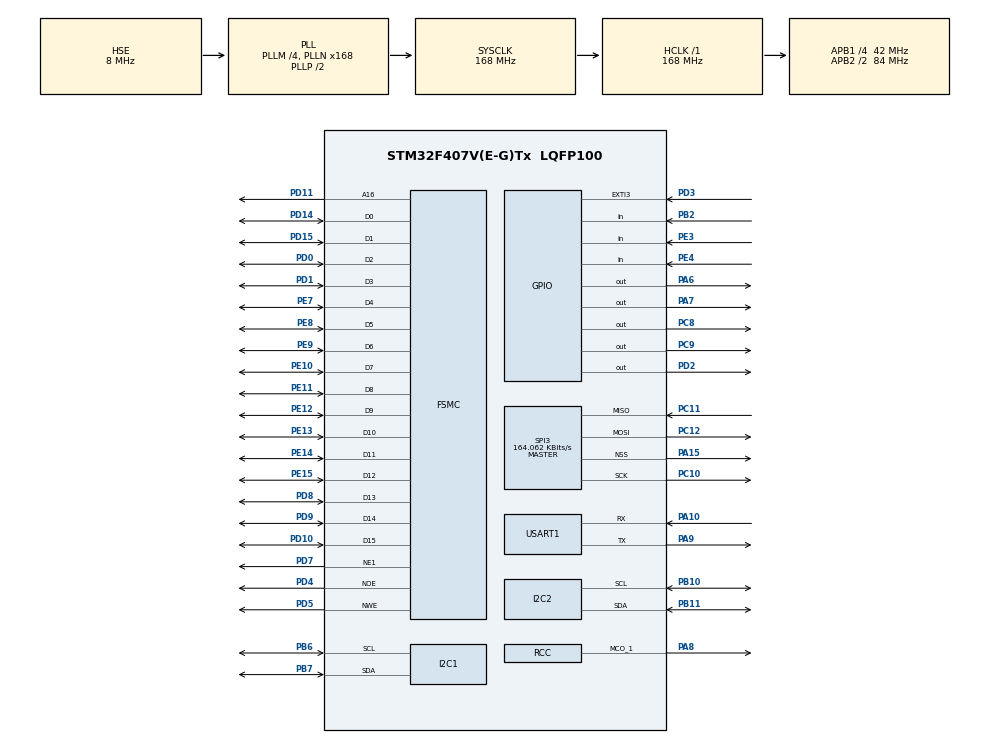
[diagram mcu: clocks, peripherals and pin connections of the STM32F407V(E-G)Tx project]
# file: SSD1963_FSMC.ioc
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FSMC.AddressHoldTime1=2
FSMC.AddressSetupTime1=2
FSMC.BusTurnAroundDuration1=2
FSMC.DataSetupTime1=5
FSMC.ExtendedMode1=FSMC_EXTENDED_MODE_DISABLE
Mcu.Family=STM32F4
Mcu.Name=STM32F407V(E-G)Tx
Mcu.Package=LQFP100
NVIC.EXTI3_IRQn=true\:0\:0\:false\:false\:true\:true
NVIC.PriorityGroup=NVIC_PRIORITYGROUP_4
NVIC.SPI3_IRQn=true\:0\:0\:false\:false\:true\:true
NVIC.TIM1_BRK_TIM9_IRQn=true\:0\:0\:false\:false\:true\:true
NVIC.TIM1_UP_TIM10_IRQn=true\:0\:0\:false\:false\:true\:true
PA0-WKUP.Mode=SYS_WakeUp0
PA0-WKUP.Signal=SYS_WKUP
PA10.Mode=Asynchronous
PA10.Signal=USART1_RX
PA13.Mode=Serial_Wire
PA13.Signal=SYS_JTMS-SWDIO
PA14.Mode=Serial_Wire
PA14.Signal=SYS_JTCK-SWCLK
PA15.Mode=NSS_Signal_Hard_Output
PA15.Signal=SPI3_NSS
PA6.GPIO_ModeDefaultOutputPP=GPIO_MODE_OUTPUT_PP
PA6.GPIO_PuPd=GPIO_NOPULL
PA6.GPIO_Speed=GPIO_SPEED_FREQ_LOW
PA6.PinState=GPIO_PIN_SET
PA6.Signal=GPIO_Output
PA7.GPIO_ModeDefaultOutputPP=GPIO_MODE_OUTPUT_PP
PA7.GPIO_PuPd=GPIO_NOPULL
PA7.GPIO_Speed=GPIO_SPEED_FREQ_LOW
PA7.PinState=GPIO_PIN_RESET
PA7.Signal=GPIO_Output
PA8.Mode=Clock-out-1
PA8.Signal=RCC_MCO_1
PA9.Mode=Asynchronous
PA9.Signal=USART1_TX
PB10.Mode=I2C
PB10.Signal=I2C2_SCL
PB11.Mode=I2C
PB11.Signal=I2C2_SDA
PB2.GPIO_Mode=GPIO_MODE_INPUT
PB2.GPIO_PuPd=GPIO_NOPULL
PB2.Signal=GPIO_Input
PB6.Mode=I2C
PB6.Signal=I2C1_SCL
PB7.Mode=I2C
PB7.Signal=I2C1_SDA
PC10.GPIO_Mode=GPIO_MODE_AF_PP
PC10.GPIO_PuPd=GPIO_NOPULL
PC10.GPIO_Speed=GPIO_SPEED_FREQ_VERY_HIGH
PC10.Mode=Full_Duplex_Master
PC10.Signal=SPI3_SCK
PC11.GPIO_Mode=GPIO_MODE_AF_PP
PC11.GPIO_PuPd=GPIO_NOPULL
PC11.GPIO_Speed=GPIO_SPEED_FREQ_VERY_HIGH
PC11.Mode=Full_Duplex_Master
PC11.Signal=SPI3_MISO
PC12.GPIO_Mode=GPIO_MODE_AF_PP
PC12.GPIO_PuPd=GPIO_NOPULL
PC12.GPIO_Speed=GPIO_SPEED_FREQ_VERY_HIGH
PC12.Mode=Full_Duplex_Master
PC12.Signal=SPI3_MOSI
PC8.GPIO_ModeDefaultOutputPP=GPIO_MODE_OUTPUT_PP
PC8.GPIO_PuPd=GPIO_NOPULL
PC8.GPIO_Speed=GPIO_SPEED_FREQ_LOW
PC8.PinState=GPIO_PIN_RESET
PC8.Signal=GPIO_Output
PC9.GPIO_ModeDefaultOutputPP=GPIO_MODE_OUTPUT_PP
PC9.GPIO_PuPd=GPIO_NOPULL
PC9.GPIO_Speed=GPIO_SPEED_FREQ_LOW
PC9.PinState=GPIO_PIN_RESET
PC9.Signal=GPIO_Output
PD0.Mode=16b-d1
PD0.Signal=FSMC_D2
PD1.Mode=16b-d1
PD1.Signal=FSMC_D3
PD10.Mode=16b-d1
PD10.Signal=FSMC_D15
PD11.Mode=A16_1
PD11.Signal=FSMC_A16
PD14.Mode=16b-d1
PD14.Signal=FSMC_D0
PD15.Mode=16b-d1
PD15.Signal=FSMC_D1
PD2.GPIO_ModeDefaultOutputPP=GPIO_MODE_OUTPUT_PP
PD2.GPIO_PuPd=GPIO_NOPULL
PD2.GPIO_Speed=GPIO_SPEED_FREQ_LOW
PD2.PinState=GPIO_PIN_RESET
PD2.Signal=GPIO_Output
PD3.GPIO_ModeDefaultEXTI=GPIO_MODE_IT_RISING
PD3.GPIO_PuPd=GPIO_NOPULL
PD3.Signal=GPXTI3
PD4.Mode=Lcd1
PD4.Signal=FSMC_NOE
PD5.Mode=Lcd1
PD5.Signal=FSMC_NWE
PD7.Mode=NorPsramChipSelect1_1
PD7.Signal=FSMC_NE1
PD8.Mode=16b-d1
PD8.Signal=FSMC_D13
PD9.Mode=16b-d1
PD9.Signal=FSMC_D14
PE10.Mode=16b-d1
PE10.Signal=FSMC_D7
PE11.Mode=16b-d1
PE11.Signal=FSMC_D8
PE12.Mode=16b-d1
PE12.Signal=FSMC_D9
PE13.Mode=16b-d1
PE13.Signal=FSMC_D10
PE14.Mode=16b-d1
PE14.Signal=FSMC_D11
PE15.Mode=16b-d1
PE15.Signal=FSMC_D12
PE3.GPIO_Mode=GPIO_MODE_INPUT
PE3.GPIO_PuPd=GPIO_NOPULL
PE3.Signal=GPIO_Input
PE4.GPIO_Mode=GPIO_MODE_INPUT
PE4.GPIO_PuPd=GPIO_NOPULL
PE4.Signal=GPIO_Input
PE7.Mode=16b-d1
PE7.Signal=FSMC_D4
PE8.Mode=16b-d1
PE8.Signal=FSMC_D5
PE9.Mode=16b-d1
PE9.Signal=FSMC_D6
PH0-OSC_IN.Mode=HSE-External-Oscillator
PH0-OSC_IN.Signal=RCC_OSC_IN
PH1-OSC_OUT.Mode=HSE-External-Oscillator
PH1-OSC_OUT.Signal=RCC_OSC_OUT
ProjectManager.HeapSize=0x200
ProjectManager.StackSize=0x400
ProjectManager.TargetToolchain=MDK-ARM V5
RCC.48MHZClocksFreq_Value=48000000
RCC.AHBFreq_Value=168000000
RCC.APB1CLKDivider=RCC_HCLK_DIV4
RCC.APB1Freq_Value=42000000
RCC.APB1TimFreq_Value=84000000
RCC.APB2CLKDivider=RCC_HCLK_DIV2
RCC.APB2Freq_Value=84000000
RCC.APB2TimFreq_Value=168000000
RCC.CortexFreq_Value=168000000
RCC.HCLKFreq_Value=168000000
RCC.HSE_VALUE=8000000
RCC.HSI_VALUE=16000000
RCC.LSE_VALUE=32768
RCC.PLLM=4
RCC.PLLN=168
RCC.PLLQ=7
RCC.PLLSourceVirtual=RCC_PLLSOURCE_HSE
RCC.RCC_MCO1Source=RCC_MCO1SOURCE_HSE
RCC.RCC_MCODiv1=RCC_MCODIV_4
RCC.RCC_RTC_Clock_SourceVirtual=RCC_RTCCLKSOURCE_HSE_DIV8
RCC.RCC_RTC_Clock_Source_FROM_HSE=RCC_RTCCLKSOURCE_HSE_DIV8
RCC.SYSCLKFreq_VALUE=168000000
RCC.SYSCLKSource=RCC_SYSCLKSOURCE_PLLCLK
RCC.VCOOutputFreq_Value=336000000
SPI3.BaudRatePrescaler=SPI_BAUDRATEPRESCALER_256
SPI3.CalculateBaudRate=164.062 KBits/s
SPI3.Direction=SPI_DIRECTION_2LINES
SPI3.Mode=SPI_MODE_MASTER
SPI3.VirtualNSS=VM_NSSHARD
SPI3.VirtualType=VM_MASTER
TIM1.Period=16800
TIM1.Prescaler=10
TIM1.TIM_MasterOutputTrigger=TIM_TRGO_UPDATE
USART1.VirtualMode=VM_ASYNC
VP_RTC_VS_RTC_Activate.Mode=RTC_Enabled
VP_TIM1_VS_ClockSourceINT.Mode=Internal
board=SSD1963_FSMC

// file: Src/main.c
/**
  ******************************************************************************
  * @file           : main.c
  * @brief          : Main program body
  ******************************************************************************
  ** This notice applies to any and all portions of this file
  * that are not between comment pairs USER CODE BEGIN and
  * USER CODE END. Other portions of this file, whether
  * inserted by the user or by software development tools
  * are owned by their respective copyright owners.
  *
  * COPYRIGHT(c) 2018 STMicroelectronics
  *
  * Redistribution and use in source and binary forms, with or without modification,
  * are permitted provided that the following conditions are met:
  *   1. Redistributions of source code must retain the above copyright notice,
  *      this list of conditions and the following disclaimer.
  *   2. Redistributions in binary form must reproduce the above copyright notice,
  *      this list of conditions and the following disclaimer in the documentation
  *      and/or other materials provided with the distribution.
  *   3. Neither the name of STMicroelectronics nor the names of its contributors
  *      may be used to endorse or promote products derived from this software
  *      without specific prior written permission.
  *
  * THIS SOFTWARE IS PROVIDED BY THE COPYRIGHT HOLDERS AND CONTRIBUTORS "AS IS"
  * AND ANY EXPRESS OR IMPLIED WARRANTIES, INCLUDING, BUT NOT LIMITED TO, THE
  * IMPLIED WARRANTIES OF MERCHANTABILITY AND FITNESS FOR A PARTICULAR PURPOSE ARE
  * DISCLAIMED. IN NO EVENT SHALL THE COPYRIGHT HOLDER OR CONTRIBUTORS BE LIABLE
  * FOR ANY DIRECT, INDIRECT, INCIDENTAL, SPECIAL, EXEMPLARY, OR CONSEQUENTIAL
  * DAMAGES (INCLUDING, BUT NOT LIMITED TO, PROCUREMENT OF SUBSTITUTE GOODS OR
  * SERVICES; LOSS OF USE, DATA, OR PROFITS; OR BUSINESS INTERRUPTION) HOWEVER
  * CAUSED AND ON ANY THEORY OF LIABILITY, WHETHER IN CONTRACT, STRICT LIABILITY,
  * OR TORT (INCLUDING NEGLIGENCE OR OTHERWISE) ARISING IN ANY WAY OUT OF THE USE
  * OF THIS SOFTWARE, EVEN IF ADVISED OF THE POSSIBILITY OF SUCH DAMAGE.
  *
  ******************************************************************************
  */
#include "main.h"
#include "stm32f4xx_hal.h"

/* USER CODE BEGIN Includes */
#include "ssd1963_fsmc.h"
#include "xpt2046.h"

#include "fonts/Dmd8x7Clock.h"
#include "fonts/Dmd13x20Clock.h"
#include "fonts/FreeMono9pt7b.h"
#include "fonts/FreeMono12pt7b.h"
#include "fonts/FreeMono18pt7b.h"
#include "fonts/FreeMono24pt7b.h"
#include "fonts/FreeMonoBold9pt7b.h"
#include "fonts/FreeMonoBold12pt7b.h"
#include "fonts/FreeMonoBold18pt7b.h"
#include "fonts/FreeMonoBold24pt7b.h"
#include "fonts/FreeMonoBoldOblique9pt7b.h"
#include "fonts/FreeMonoBoldOblique12pt7b.h"
#include "fonts/FreeMonoBoldOblique18pt7b.h"
#include "fonts/FreeMonoBoldOblique24pt7b.h"
#include "fonts/FreeMonoOblique9pt7b.h"
#include "fonts/FreeMonoOblique12pt7b.h"
#include "fonts/FreeMonoOblique18pt7b.h"
#include "fonts/FreeMonoOblique24pt7b.h"
#include "fonts/FreeSans9pt7b.h"
#include "fonts/FreeSans12pt7b.h"
#include "fonts/FreeSans18pt7b.h"
#include "fonts/FreeSans24pt7b.h"
#include "fonts/FreeSansBold9pt7b.h"
#include "fonts/FreeSansBold12pt7b.h"
#include "fonts/FreeSansBold18pt7b.h"
#include "fonts/FreeSansBold24pt7b.h"
#include "fonts/FreeSansBoldOblique9pt7b.h"
#include "fonts/FreeSansBoldOblique12pt7b.h"
#include "fonts/FreeSansBoldOblique18pt7b.h"
#include "fonts/FreeSansBoldOblique24pt7b.h"
#include "fonts/FreeSansOblique9pt7b.h"
#include "fonts/FreeSansOblique12pt7b.h"
#include "fonts/FreeSansOblique18pt7b.h"
#include "fonts/FreeSansOblique24pt7b.h"
#include "fonts/FreeSerif9pt7b.h"
#include "fonts/FreeSerif12pt7b.h"
#include "fonts/FreeSerif18pt7b.h"
#include "fonts/FreeSerif24pt7b.h"
#include "fonts/FreeSerifBold9pt7b.h"
#include "fonts/FreeSerifBold12pt7b.h"
#include "fonts/FreeSerifBold18pt7b.h"
#include "fonts/FreeSerifBold24pt7b.h"
#include "fonts/FreeSerifBoldItalic9pt7b.h"
#include "fonts/FreeSerifBoldItalic12pt7b.h"
#include "fonts/FreeSerifBoldItalic18pt7b.h"
#include "fonts/FreeSerifBoldItalic24pt7b.h"
#include "fonts/FreeSerifItalic9pt7b.h"
#include "fonts/FreeSerifItalic12pt7b.h"
#include "fonts/FreeSerifItalic18pt7b.h"
#include "fonts/FreeSerifItalic24pt7b.h"
#include "fonts/FreeSevenSegNum.h"
#include "fonts/Org_01.h"
#include "fonts/Picopixel.h"
#include "fonts/Tiny3x3a2pt7b.h"
#include "fonts/TomThumb.h"
/* USER CODE END Includes */

I2C_HandleTypeDef hi2c1;
I2C_HandleTypeDef hi2c2;

RTC_HandleTypeDef hrtc;

SPI_HandleTypeDef hspi3;

TIM_HandleTypeDef htim1;

UART_HandleTypeDef huart1;

SRAM_HandleTypeDef hsram1;

/* USER CODE BEGIN PV */
/* Private variables ---------------------------------------------------------*/
uint8_t touchIRQ = 0;
uint16_t touchX = 0, touchY = 0;
uint64_t millis = 0;

/* USER CODE END PV */

void SystemClock_Config(void);
static void MX_GPIO_Init(void);
static void MX_FSMC_Init(void);
static void MX_RTC_Init(void);
static void MX_I2C1_Init(void);
static void MX_I2C2_Init(void);
static void MX_USART1_UART_Init(void);
static void MX_SPI3_Init(void);
static void MX_TIM1_Init(void);

/* USER CODE BEGIN PFP */
/* Private function prototypes -----------------------------------------------*/

/* USER CODE END PFP */

int main(void)
{

  /* MCU Configuration----------------------------------------------------------*/

  /* Reset of all peripherals, Initializes the Flash interface and the Systick. */
  HAL_Init();

  /* Configure the system clock */
  SystemClock_Config();

  /* Initialize all configured peripherals */
  MX_GPIO_Init();
  MX_FSMC_Init();
  MX_RTC_Init();
  MX_I2C1_Init();
  MX_I2C2_Init();
  MX_USART1_UART_Init();
  MX_SPI3_Init();
  MX_TIM1_Init();
  /* USER CODE BEGIN 2 */
	HAL_TIM_Base_Start(&htim1);
	HAL_TIM_Base_Start_IT(&htim1);

	LCD_Init();
	XPT2046_Init();

	uint8_t uartTransmit[] = "UART OK\r\n";
	HAL_UART_Transmit(&huart1, uartTransmit, sizeof(uartTransmit), 100);

	LCD_Rect_Fill(0, 0, 800, 480, BLUE);
	LCD_Rect_Fill(1, 1, 798, 478, BLACK);

	HAL_Delay(1000);
	LCD_Rect_Fill(0, 0, 160, 128, BLACK);
	for(uint8_t x = 8; x <= 160; x += 8)
	{
		LCD_Line(0, 0, x, 128, 1, GREEN);
	}
	for(uint8_t y = 8; y <= 128; y += 8) {
		LCD_Line(0, 0, 160, y, 1, GREEN);
	}
	HAL_Delay(250);

	uint8_t h = 16;
	uint8_t w = 20;
	for(uint8_t i = 0; i < 8; i++)
	{
		LCD_Rect(80 - w / 2, 64 - h / 2, w, h, 2, YELLOW);
		h += 16;
		w += 20;
	}
	HAL_Delay(250);
	LCD_Rect_Fill(0, 0, 160, 128, BLUE);
	LCD_Rect_Fill(1, 1, 158, 126, BLACK);
	LCD_Font(5, 40, "This is\n just a Test\nST7735\n", Thumb, 1, YELLOW);
	LCD_Line(23, 20, 137, 20, 1, MAGENTA);
	LCD_Line(23, 21, 137, 21, 1, BLUE);
	LCD_Line(23, 21, 137, 21, 1, BLUE);
	LCD_Font(41, 10, "SSD1289 DRIVER", Org, 1, MAGENTA);
	LCD_Font(45, 35, "STM 32 HAL", SerifBold9, 1, RED);
	LCD_Circle(40, 90, 30, 0, 1, RED);
	LCD_Circle(45, 90, 20, 1, 1, BLUE);
	LCD_Triangle(5, 5, 5, 20, 25, 25, 2, BLUE);
	LCD_Rect(60, 45, 30, 20, 2, GREEN);
	LCD_Rect_Round(80, 70, 60, 25, 10, 3, WHITE);
	LCD_Rect_Round_Fill(80, 100, 60, 25, 10, WHITE);
	LCD_Ellipse(60, 100, 30, 20, 0, 2, YELLOW);
	LCD_Ellipse(125, 60, 25, 15, 1, 1, YELLOW);
	LCD_Font(0, 200, "1234567890", SevenSegNum, 1, RED);
	LCD_Font(10, 220, "1234567890 TEST FONT", Clock8x7, 1, RED);
  /* USER CODE END 2 */

  /* Infinite loop */
  while (1)
  {

  /* USER CODE BEGIN 3 */
		if (touchIRQ)
		{
		touchX = getX();
		touchY = getY();
//		LCD_Pixel(touchX, touchY, WHITE);
		LCD_Rect_Fill(touchX, touchY, 2, 2, WHITE);
		HAL_GPIO_WritePin(GPIOA, GPIO_PIN_6, GPIO_PIN_RESET);

		touchX = 0;
		touchY = 0;
		touchIRQ = 0;
		}
		else
		{
			HAL_GPIO_WritePin(GPIOA, GPIO_PIN_6, GPIO_PIN_SET);
		}

	if (millis / 1000 % 2 == 0) HAL_GPIO_WritePin(GPIOA, GPIO_PIN_7, GPIO_PIN_SET);
	else HAL_GPIO_WritePin(GPIOA, GPIO_PIN_7, GPIO_PIN_RESET);
	}

  /* USER CODE END 3 */

}

void SystemClock_Config(void)
{

  RCC_OscInitTypeDef RCC_OscInitStruct;
  RCC_ClkInitTypeDef RCC_ClkInitStruct;
  RCC_PeriphCLKInitTypeDef PeriphClkInitStruct;

    /**Configure the main internal regulator output voltage
    */
  __HAL_RCC_PWR_CLK_ENABLE();

  __HAL_PWR_VOLTAGESCALING_CONFIG(PWR_REGULATOR_VOLTAGE_SCALE1);

    /**Initializes the CPU, AHB and APB busses clocks
    */
  RCC_OscInitStruct.OscillatorType = RCC_OSCILLATORTYPE_HSE;
  RCC_OscInitStruct.HSEState = RCC_HSE_ON;
  RCC_OscInitStruct.PLL.PLLState = RCC_PLL_ON;
  RCC_OscInitStruct.PLL.PLLSource = RCC_PLLSOURCE_HSE;
  RCC_OscInitStruct.PLL.PLLM = 4;
  RCC_OscInitStruct.PLL.PLLN = 168;
  RCC_OscInitStruct.PLL.PLLP = RCC_PLLP_DIV2;
  RCC_OscInitStruct.PLL.PLLQ = 7;
  if (HAL_RCC_OscConfig(&RCC_OscInitStruct) != HAL_OK)
  {
    _Error_Handler(__FILE__, __LINE__);
  }

    /**Initializes the CPU, AHB and APB busses clocks
    */
  RCC_ClkInitStruct.ClockType = RCC_CLOCKTYPE_HCLK|RCC_CLOCKTYPE_SYSCLK
                              |RCC_CLOCKTYPE_PCLK1|RCC_CLOCKTYPE_PCLK2;
  RCC_ClkInitStruct.SYSCLKSource = RCC_SYSCLKSOURCE_PLLCLK;
  RCC_ClkInitStruct.AHBCLKDivider = RCC_SYSCLK_DIV1;
  RCC_ClkInitStruct.APB1CLKDivider = RCC_HCLK_DIV4;
  RCC_ClkInitStruct.APB2CLKDivider = RCC_HCLK_DIV2;

  if (HAL_RCC_ClockConfig(&RCC_ClkInitStruct, FLASH_LATENCY_5) != HAL_OK)
  {
    _Error_Handler(__FILE__, __LINE__);
  }

  PeriphClkInitStruct.PeriphClockSelection = RCC_PERIPHCLK_RTC;
  PeriphClkInitStruct.RTCClockSelection = RCC_RTCCLKSOURCE_HSE_DIV8;
  if (HAL_RCCEx_PeriphCLKConfig(&PeriphClkInitStruct) != HAL_OK)
  {
    _Error_Handler(__FILE__, __LINE__);
  }

  HAL_RCC_MCOConfig(RCC_MCO1, RCC_MCO1SOURCE_HSE, RCC_MCODIV_4);

    /**Configure the Systick interrupt time
    */
  HAL_SYSTICK_Config(HAL_RCC_GetHCLKFreq()/1000);

    /**Configure the Systick
    */
  HAL_SYSTICK_CLKSourceConfig(SYSTICK_CLKSOURCE_HCLK);

  /* SysTick_IRQn interrupt configuration */
  HAL_NVIC_SetPriority(SysTick_IRQn, 0, 0);
}

/* I2C1 init function */
static void MX_I2C1_Init(void)
{

  hi2c1.Instance = I2C1;
  hi2c1.Init.ClockSpeed = 100000;
  hi2c1.Init.DutyCycle = I2C_DUTYCYCLE_2;
  hi2c1.Init.OwnAddress1 = 0;
  hi2c1.Init.AddressingMode = I2C_ADDRESSINGMODE_7BIT;
  hi2c1.Init.DualAddressMode = I2C_DUALADDRESS_DISABLE;
  hi2c1.Init.OwnAddress2 = 0;
  hi2c1.Init.GeneralCallMode = I2C_GENERALCALL_DISABLE;
  hi2c1.Init.NoStretchMode = I2C_NOSTRETCH_DISABLE;
  if (HAL_I2C_Init(&hi2c1) != HAL_OK)
  {
    _Error_Handler(__FILE__, __LINE__);
  }

}

/* I2C2 init function */
static void MX_I2C2_Init(void)
{

  hi2c2.Instance = I2C2;
  hi2c2.Init.ClockSpeed = 100000;
  hi2c2.Init.DutyCycle = I2C_DUTYCYCLE_2;
  hi2c2.Init.OwnAddress1 = 0;
  hi2c2.Init.AddressingMode = I2C_ADDRESSINGMODE_7BIT;
  hi2c2.Init.DualAddressMode = I2C_DUALADDRESS_DISABLE;
  hi2c2.Init.OwnAddress2 = 0;
  hi2c2.Init.GeneralCallMode = I2C_GENERALCALL_DISABLE;
  hi2c2.Init.NoStretchMode = I2C_NOSTRETCH_DISABLE;
  if (HAL_I2C_Init(&hi2c2) != HAL_OK)
  {
    _Error_Handler(__FILE__, __LINE__);
  }

}

/* RTC init function */
static void MX_RTC_Init(void)
{

    /**Initialize RTC Only
    */
  hrtc.Instance = RTC;
  hrtc.Init.HourFormat = RTC_HOURFORMAT_24;
  hrtc.Init.AsynchPrediv = 127;
  hrtc.Init.SynchPrediv = 255;
  hrtc.Init.OutPut = RTC_OUTPUT_DISABLE;
  hrtc.Init.OutPutPolarity = RTC_OUTPUT_POLARITY_HIGH;
  hrtc.Init.OutPutType = RTC_OUTPUT_TYPE_OPENDRAIN;
  if (HAL_RTC_Init(&hrtc) != HAL_OK)
  {
    _Error_Handler(__FILE__, __LINE__);
  }

}

/* SPI3 init function */
static void MX_SPI3_Init(void)
{

  /* SPI3 parameter configuration*/
  hspi3.Instance = SPI3;
  hspi3.Init.Mode = SPI_MODE_MASTER;
  hspi3.Init.Direction = SPI_DIRECTION_2LINES;
  hspi3.Init.DataSize = SPI_DATASIZE_8BIT;
  hspi3.Init.CLKPolarity = SPI_POLARITY_LOW;
  hspi3.Init.CLKPhase = SPI_PHASE_1EDGE;
  hspi3.Init.NSS = SPI_NSS_HARD_OUTPUT;
  hspi3.Init.BaudRatePrescaler = SPI_BAUDRATEPRESCALER_256;
  hspi3.Init.FirstBit = SPI_FIRSTBIT_MSB;
  hspi3.Init.TIMode = SPI_TIMODE_DISABLE;
  hspi3.Init.CRCCalculation = SPI_CRCCALCULATION_DISABLE;
  hspi3.Init.CRCPolynomial = 10;
  if (HAL_SPI_Init(&hspi3) != HAL_OK)
  {
    _Error_Handler(__FILE__, __LINE__);
  }

}

/* TIM1 init function */
static void MX_TIM1_Init(void)
{

  TIM_ClockConfigTypeDef sClockSourceConfig;
  TIM_MasterConfigTypeDef sMasterConfig;

  htim1.Instance = TIM1;
  htim1.Init.Prescaler = 10;
  htim1.Init.CounterMode = TIM_COUNTERMODE_UP;
  htim1.Init.Period = 16800;
  htim1.Init.ClockDivision = TIM_CLOCKDIVISION_DIV1;
  htim1.Init.RepetitionCounter = 0;
  if (HAL_TIM_Base_Init(&htim1) != HAL_OK)
  {
    _Error_Handler(__FILE__, __LINE__);
  }

  sClockSourceConfig.ClockSource = TIM_CLOCKSOURCE_INTERNAL;
  if (HAL_TIM_ConfigClockSource(&htim1, &sClockSourceConfig) != HAL_OK)
  {
    _Error_Handler(__FILE__, __LINE__);
  }

  sMasterConfig.MasterOutputTrigger = TIM_TRGO_UPDATE;
  sMasterConfig.MasterSlaveMode = TIM_MASTERSLAVEMODE_DISABLE;
  if (HAL_TIMEx_MasterConfigSynchronization(&htim1, &sMasterConfig) != HAL_OK)
  {
    _Error_Handler(__FILE__, __LINE__);
  }

}

/* USART1 init function */
static void MX_USART1_UART_Init(void)
{

  huart1.Instance = USART1;
  huart1.Init.BaudRate = 115200;
  huart1.Init.WordLength = UART_WORDLENGTH_8B;
  huart1.Init.StopBits = UART_STOPBITS_1;
  huart1.Init.Parity = UART_PARITY_NONE;
  huart1.Init.Mode = UART_MODE_TX_RX;
  huart1.Init.HwFlowCtl = UART_HWCONTROL_NONE;
  huart1.Init.OverSampling = UART_OVERSAMPLING_16;
  if (HAL_UART_Init(&huart1) != HAL_OK)
  {
    _Error_Handler(__FILE__, __LINE__);
  }

}

/** Configure pins as
        * Analog
        * Input
        * Output
        * EVENT_OUT
        * EXTI
     PA8   ------> RCC_MCO_1
*/
static void MX_GPIO_Init(void)
{

  GPIO_InitTypeDef GPIO_InitStruct;

  /* GPIO Ports Clock Enable */
  __HAL_RCC_GPIOE_CLK_ENABLE();
  __HAL_RCC_GPIOH_CLK_ENABLE();
  __HAL_RCC_GPIOA_CLK_ENABLE();
  __HAL_RCC_GPIOB_CLK_ENABLE();
  __HAL_RCC_GPIOD_CLK_ENABLE();
  __HAL_RCC_GPIOC_CLK_ENABLE();

  /*Configure GPIO pin Output Level */
  HAL_GPIO_WritePin(GPIOA, GPIO_PIN_6, GPIO_PIN_SET);

  /*Configure GPIO pin Output Level */
  HAL_GPIO_WritePin(GPIOA, GPIO_PIN_7, GPIO_PIN_RESET);

  /*Configure GPIO pin Output Level */
  HAL_GPIO_WritePin(GPIOC, GPIO_PIN_8|GPIO_PIN_9, GPIO_PIN_RESET);

  /*Configure GPIO pin Output Level */
  HAL_GPIO_WritePin(GPIOD, GPIO_PIN_2, GPIO_PIN_RESET);

  /*Configure GPIO pins : PE3 PE4 */
  GPIO_InitStruct.Pin = GPIO_PIN_3|GPIO_PIN_4;
  GPIO_InitStruct.Mode = GPIO_MODE_INPUT;
  GPIO_InitStruct.Pull = GPIO_NOPULL;
  HAL_GPIO_Init(GPIOE, &GPIO_InitStruct);

  /*Configure GPIO pins : PA6 PA7 */
  GPIO_InitStruct.Pin = GPIO_PIN_6|GPIO_PIN_7;
  GPIO_InitStruct.Mode = GPIO_MODE_OUTPUT_PP;
  GPIO_InitStruct.Pull = GPIO_NOPULL;
  GPIO_InitStruct.Speed = GPIO_SPEED_FREQ_LOW;
  HAL_GPIO_Init(GPIOA, &GPIO_InitStruct);

  /*Configure GPIO pin : PB2 */
  GPIO_InitStruct.Pin = GPIO_PIN_2;
  GPIO_InitStruct.Mode = GPIO_MODE_INPUT;
  GPIO_InitStruct.Pull = GPIO_NOPULL;
  HAL_GPIO_Init(GPIOB, &GPIO_InitStruct);

  /*Configure GPIO pins : PC8 PC9 */
  GPIO_InitStruct.Pin = GPIO_PIN_8|GPIO_PIN_9;
  GPIO_InitStruct.Mode = GPIO_MODE_OUTPUT_PP;
  GPIO_InitStruct.Pull = GPIO_NOPULL;
  GPIO_InitStruct.Speed = GPIO_SPEED_FREQ_LOW;
  HAL_GPIO_Init(GPIOC, &GPIO_InitStruct);

  /*Configure GPIO pin : PA8 */
  GPIO_InitStruct.Pin = GPIO_PIN_8;
  GPIO_InitStruct.Mode = GPIO_MODE_AF_PP;
  GPIO_InitStruct.Pull = GPIO_NOPULL;
  GPIO_InitStruct.Speed = GPIO_SPEED_FREQ_LOW;
  GPIO_InitStruct.Alternate = GPIO_AF0_MCO;
  HAL_GPIO_Init(GPIOA, &GPIO_InitStruct);

  /*Configure GPIO pin : PD2 */
  GPIO_InitStruct.Pin = GPIO_PIN_2;
  GPIO_InitStruct.Mode = GPIO_MODE_OUTPUT_PP;
  GPIO_InitStruct.Pull = GPIO_NOPULL;
  GPIO_InitStruct.Speed = GPIO_SPEED_FREQ_LOW;
  HAL_GPIO_Init(GPIOD, &GPIO_InitStruct);

  /*Configure GPIO pin : PD3 */
  GPIO_InitStruct.Pin = GPIO_PIN_3;
  GPIO_InitStruct.Mode = GPIO_MODE_IT_RISING;
  GPIO_InitStruct.Pull = GPIO_NOPULL;
  HAL_GPIO_Init(GPIOD, &GPIO_InitStruct);

  /* EXTI interrupt init*/
  HAL_NVIC_SetPriority(EXTI3_IRQn, 0, 0);
  HAL_NVIC_EnableIRQ(EXTI3_IRQn);

}

/* FSMC initialization function */
static void MX_FSMC_Init(void)
{
  FSMC_NORSRAM_TimingTypeDef Timing;

  /** Perform the SRAM1 memory initialization sequence
  */
  hsram1.Instance = FSMC_NORSRAM_DEVICE;
  hsram1.Extended = FSMC_NORSRAM_EXTENDED_DEVICE;
  /* hsram1.Init */
  hsram1.Init.NSBank = FSMC_NORSRAM_BANK1;
  hsram1.Init.DataAddressMux = FSMC_DATA_ADDRESS_MUX_DISABLE;
  hsram1.Init.MemoryType = FSMC_MEMORY_TYPE_SRAM;
  hsram1.Init.MemoryDataWidth = FSMC_NORSRAM_MEM_BUS_WIDTH_16;
  hsram1.Init.BurstAccessMode = FSMC_BURST_ACCESS_MODE_DISABLE;
  hsram1.Init.WaitSignalPolarity = FSMC_WAIT_SIGNAL_POLARITY_LOW;
  hsram1.Init.WrapMode = FSMC_WRAP_MODE_DISABLE;
  hsram1.Init.WaitSignalActive = FSMC_WAIT_TIMING_BEFORE_WS;
  hsram1.Init.WriteOperation = FSMC_WRITE_OPERATION_ENABLE;
  hsram1.Init.WaitSignal = FSMC_WAIT_SIGNAL_DISABLE;
  hsram1.Init.ExtendedMode = FSMC_EXTENDED_MODE_DISABLE;
  hsram1.Init.AsynchronousWait = FSMC_ASYNCHRONOUS_WAIT_DISABLE;
  hsram1.Init.WriteBurst = FSMC_WRITE_BURST_DISABLE;
  hsram1.Init.PageSize = FSMC_PAGE_SIZE_NONE;
  /* Timing */
  Timing.AddressSetupTime = 2;
  Timing.AddressHoldTime = 2;
  Timing.DataSetupTime = 5;
  Timing.BusTurnAroundDuration = 2;
  Timing.CLKDivision = 16;
  Timing.DataLatency = 17;
  Timing.AccessMode = FSMC_ACCESS_MODE_A;
  /* ExtTiming */

  if (HAL_SRAM_Init(&hsram1, &Timing, NULL) != HAL_OK)
  {
    _Error_Handler(__FILE__, __LINE__);
  }

}

/* USER CODE BEGIN 4 */
void HAL_GPIO_EXTI_Callback(uint16_t GPIO_Pin)
{
 if (GPIO_Pin == GPIO_PIN_3) touchIRQ = 1;
 else { __NOP(); }
}
/* USER CODE END 4 */

void _Error_Handler(char *file, int line)
{
  while(1)
  {
  }
}

/************************ (C) COPYRIGHT STMicroelectronics *****END OF FILE****/
